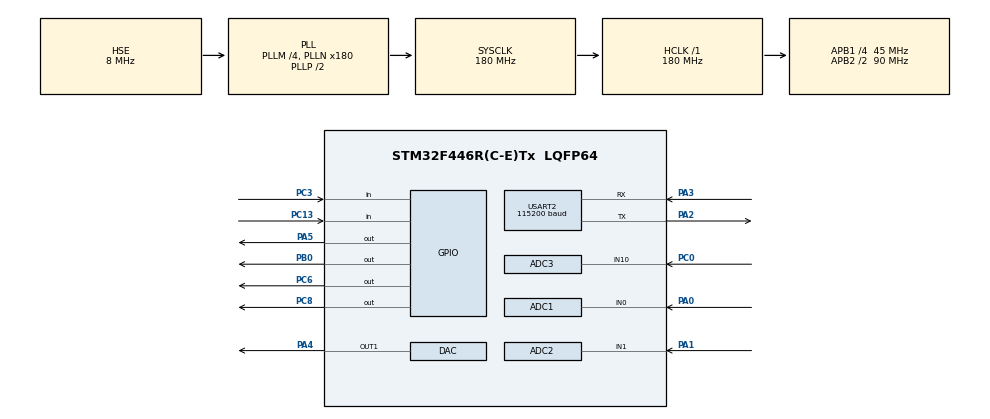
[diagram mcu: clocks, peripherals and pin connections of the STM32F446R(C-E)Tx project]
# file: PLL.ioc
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Mcu.Family=STM32F4
PH0-OSC_IN.Signal=RCC_OSC_IN
RCC.CortexFreq_Value=180000000
Dma.USART2_TX.0.PeriphDataAlignment=DMA_PDATAALIGN_BYTE
ADC1.ContinuousConvMode=DISABLE
ADC2.Channel-0\#ChannelRegularConversion=ADC_CHANNEL_1
USART2.Parity=PARITY_NONE
ADC3.Channel-0\#ChannelRegularConversion=ADC_CHANNEL_10
Dma.USART2_TX.0.FIFOMode=DMA_FIFOMODE_DISABLE
RCC.SYSCLKSource=RCC_SYSCLKSOURCE_PLLCLK
ProjectManager.StackSize=0x400
NVIC.ADC_IRQn=true\:0\:0\:false\:false\:true\:true\:true
Dma.USART2_TX.0.Priority=DMA_PRIORITY_LOW
TIM1.Prescaler=18-1
ADC2.DMAContinuousRequests=DISABLE
ADC1.Channel-3\#ChannelRegularConversion=ADC_CHANNEL_0
RCC.HCLKFreq_Value=180000000
RCC.APB2TimFreq_Value=180000000
VP_TIM10_VS_ClockSourceINT.Mode=Enable_Timer
PC3.Signal=GPIO_Input
RCC.AHBFreq_Value=180000000
PH0-OSC_IN.Mode=HSE-External-Oscillator
RCC.HSE_VALUE=8000000
TIM10.Channel=TIM_CHANNEL_1
DAC.DAC_Trigger=DAC_TRIGGER_NONE
DAC.DAC_OutputBuffer=DAC_OUTPUTBUFFER_ENABLE
SH.ADCx_IN0.0=ADC1_IN0,IN0
Dma.USART2_TX.0.MemDataAlignment=DMA_MDATAALIGN_BYTE
Dma.USART2_TX.0.Direction=DMA_MEMORY_TO_PERIPH
Dma.USART2_TX.0.Instance=DMA1_Stream6
VP_TIM1_VS_ClockSourceINT.Mode=Internal
PH1-OSC_OUT.Mode=HSE-External-Oscillator
Mcu.Package=LQFP64
USART2.VirtualMode=VM_ASYNC
ADC3.Rank-0\#ChannelRegularConversion=1
PC6.GPIO_PuPd=GPIO_NOPULL
ADC2.SamplingTime-0\#ChannelRegularConversion=ADC_SAMPLETIME_3CYCLES
Dma.USART2_TX.0.Mode=DMA_NORMAL
RCC.APB2CLKDivider=RCC_HCLK_DIV2
SH.ADCx_IN1.0=ADC2_IN1,IN1
RCC.APB1TimFreq_Value=90000000
TIM1.Period=65536-1
ADC2.Rank-0\#ChannelRegularConversion=1
NVIC.DMA1_Stream6_IRQn=true\:0\:0\:false\:false\:true\:false\:true
Dma.Request0=USART2_TX
PC6.GPIO_Speed=GPIO_SPEED_FREQ_LOW
PA3.Signal=USART2_RX
RCC.PLLSourceVirtual=RCC_PLLSOURCE_HSE
TIM10.Prescaler=180-1
SH.COMP_DAC1_group.0=DAC_OUT1,DAC_OUT1
Dma.USART2_TX.0.MemInc=DMA_MINC_ENABLE
PC13.Signal=GPIO_Input
PC8.Signal=GPIO_Output
PC6.Signal=GPIO_Output
PC0.Signal=ADCx_IN10
RCC.APB1CLKDivider=RCC_HCLK_DIV4
VP_TIM10_VS_no_output1.Mode=Output Compare1 No Output
NVIC.USART2_IRQn=true\:0\:0\:false\:false\:true\:true\:true
USART2.BaudRate=115200
PA0-WKUP.Signal=ADCx_IN0
PA3.Mode=Asynchronous
ADC3.SamplingTime-0\#ChannelRegularConversion=ADC_SAMPLETIME_3CYCLES
ProjectManager.TargetToolchain=STM32CubeIDE
RCC.USBFreq_Value=180000000
PA1.Signal=ADCx_IN1
PC6.PinState=GPIO_PIN_RESET
PA5.Signal=GPIO_Output
board=custom
RCC.VCOOutputFreq_Value=360000000
TIM10.Period=100-1
RCC.APB2Freq_Value=90000000
PH1-OSC_OUT.Signal=RCC_OSC_OUT
ADC1.DMAContinuousRequests=DISABLE
ADC1.NbrOfConversion=1
Mcu.Name=STM32F446R(C-E)Tx
PA2.Signal=USART2_TX
ADC1.ExternalTrigConv=ADC_SOFTWARE_START
PA4.Signal=COMP_DAC1_group
RCC.SYSCLKFreq_VALUE=180000000
ADC1.master=1
Dma.USART2_TX.0.PeriphInc=DMA_PINC_DISABLE
ADC1.Rank-3\#ChannelRegularConversion=1
ADC1.SamplingTime-3\#ChannelRegularConversion=ADC_SAMPLETIME_3CYCLES
ADC2.NbrOfConversionFlag=1
SH.ADCx_IN10.0=ADC3_IN10,IN10
ProjectManager.HeapSize=0x200
NVIC.TIM1_UP_TIM10_IRQn=true\:0\:0\:false\:false\:true\:true\:true
NVIC.PriorityGroup=NVIC_PRIORITYGROUP_4
ADC1.NbrOfConversionFlag=1
RCC.PLLM=4
RCC.PLLN=180
PA2.Mode=Asynchronous
ADC1.DataAlign=ADC_DATAALIGN_RIGHT
RCC.APB1Freq_Value=45000000
ADC3.NbrOfConversionFlag=1
PB0.Signal=GPIO_Output
ADC1.ClockPrescaler=ADC_CLOCK_SYNC_PCLK_DIV4
PC3.GPIO_PuPd=GPIO_PULLDOWN

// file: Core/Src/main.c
/* USER CODE BEGIN Header */
/**
  ******************************************************************************
  * @file           : main.c
  * @brief          : Main program body
  ******************************************************************************
  * @attention
  *
  * <h2><center>&copy; Copyright (c) 2021 STMicroelectronics.
  * All rights reserved.</center></h2>
  *
  * This software component is licensed by ST under BSD 3-Clause license,
  * the "License"; You may not use this file except in compliance with the
  * License. You may obtain a copy of the License at:
  *                        opensource.org/licenses/BSD-3-Clause
  *
  ******************************************************************************
  */
/* USER CODE END Header */
#include "main.h"

/* USER CODE BEGIN Includes */
#include <stdio.h>
#include <string.h>
#include <math.h>

#include "MAF.h"
#include "PLL.h"
#include "our_library.h"

#include "CONSTANTS.h"
/* USER CODE END Includes */

ADC_HandleTypeDef hadc1;
ADC_HandleTypeDef hadc2;
ADC_HandleTypeDef hadc3;

DAC_HandleTypeDef hdac;

TIM_HandleTypeDef htim1;
TIM_HandleTypeDef htim10;

UART_HandleTypeDef huart2;
DMA_HandleTypeDef hdma_usart2_tx;

/* USER CODE BEGIN PV */

// ADC & DAC DMA buffer
uint16_t readStart;

// Ring/Circular buffer
int16_t ringBuf[RING_BUF_LEN][RING_BUF_SIZE];	// The actual full ringbuffer
int16_t ringBufData[RING_BUF_SIZE];				// Data array for data to input into ringbuffer.
												// Holds one value per signal for each interrupt

uint8_t	ringBufTrigger2 = 0;	// Triggers the ring buffer from the gpio input
uint8_t ringBufFlag	= 0;		// Goes high when the ring buffer is done filling the buffer after trigger
uint8_t ringBufPrintDone = 0;	// Goes high when printing of ring buffer is done, so usart isn't called again
uint8_t ringBufReset = 0;

uint16_t adcValue1, adcValue2, adcValue3;

float phaseA, phaseB, phaseC, angleDq;

// File opening pointer
//FILE *fpt;

/* USER CODE END PV */

void SystemClock_Config(void);
static void MX_GPIO_Init(void);
static void MX_DMA_Init(void);
static void MX_USART2_UART_Init(void);
static void MX_ADC1_Init(void);
static void MX_TIM10_Init(void);
static void MX_DAC_Init(void);
static void MX_ADC2_Init(void);
static void MX_ADC3_Init(void);
static void MX_TIM1_Init(void);
/* USER CODE BEGIN PFP */

// USART DMA implementation: Interrupt definition
//void DMATransferComplete(DMA_HandleTypeDef *hdma);

uint8_t print_ring_buf(uint16_t bufferSize, int16_t circularBuffer[][RING_BUF_SIZE], uint16_t readStart);
uint8_t print_ring_buf_v2(uint16_t bufferSize, int16_t circularBuffer[][RING_BUF_SIZE], uint16_t readStart);
/* USER CODE END PFP */

int main(void)
{
  /* USER CODE BEGIN 1 */

  //	huart2.Instance->CR3 |= USART_CR3_DMAT;
  //	adcReading0 = adcBuf[0];
  //	sprintf(msg_2, "Adc reading: %u\r\n", adcReading0);	// Update message for usart print
  //	HAL_DMA_Start_IT(&hdma_usart2_tx, (uint32_t)msg_2,
  //						(uint32_t)&huart2.Instance

  /* USER CODE END 1 */

  /* MCU Configuration--------------------------------------------------------*/

  /* Reset of all peripherals, Initializes the Flash interface and the Systick. */
  HAL_Init();

  /* Configure the system clock */
  SystemClock_Config();

  /* Initialize all configured peripherals */
  MX_GPIO_Init();
  MX_DMA_Init();
  MX_USART2_UART_Init();
  MX_ADC1_Init();
  MX_TIM10_Init();
  MX_DAC_Init();
  MX_ADC2_Init();
  MX_ADC3_Init();
  MX_TIM1_Init();
  /* USER CODE BEGIN 2 */

  // ADC DMA implementation//  HAL_ADC_Start_DMA(&hadc1, (int32_t*)adcValue16, sizeof(adcValue16)); // Start DMA
//  HAL_ADC_Start_DMA(&hadc1, (uint32_t*)adcBuf, sizeof(adcBuf)/sizeof(uint16_t)); // Start DMA//  HAL_ADC_Start_DMA(&hadc1, (uint32_t*)adcValue32, 1); // Start DMA (currently unused

  // USART DMA interrupt
//  HAL_DMA_RegisterCallback(&hdma_usart2_tx, HAL_DMA_XFER_CPLT_CB_ID, &DMATransferComplete);

  // DAC DMA
//  HAL_DAC_Start_DMA(&hdac, DAC1_CHANNEL_1, (uint32_t*)&adcBuf[0], sizeof(adcReading0), DAC_ALIGN_12B_R);//  HAL_DAC_Start_DMA(&hdac, DAC1_CHANNEL_1, (uint32_t*)testArray, sizeof(testArray)/sizeof(uint16_t), DAC_ALIGN_12B_R);

  // Timer interrupt start
  HAL_TIM_Base_Start_IT(&htim10);
  HAL_TIM_Base_Start(&htim1);

  /* USER CODE END 2 */

  /* Infinite loop */
  /* USER CODE BEGIN WHILE */
  while (1)
  {

	// External trigger in (from waveforms)
	if (HAL_GPIO_ReadPin(GPIOC, GPIO_PIN_3)){
		ringBufTrigger2 = 1;
	}

	// Reset from button
	if (!HAL_GPIO_ReadPin(GPIOC, GPIO_PIN_13)) {
		ringBufFlag = 0;
		ringBufTrigger2 = 0;
		ringBufPrintDone = 0;

		ringBufReset = 1;
	}
	else {
		ringBufReset = 0;
	}

	if (ringBufFlag && !ringBufPrintDone) {
		ringBufPrintDone = print_ring_buf_v2(RING_BUF_LEN, ringBuf, readStart);
	}
    /* USER CODE END WHILE */

  }
}

void SystemClock_Config(void)
{
  RCC_OscInitTypeDef RCC_OscInitStruct = {0};
  RCC_ClkInitTypeDef RCC_ClkInitStruct = {0};

  /** Configure the main internal regulator output voltage
  */
  __HAL_RCC_PWR_CLK_ENABLE();
  __HAL_PWR_VOLTAGESCALING_CONFIG(PWR_REGULATOR_VOLTAGE_SCALE1);
  /** Initializes the RCC Oscillators according to the specified parameters
  * in the RCC_OscInitTypeDef structure.
  */
  RCC_OscInitStruct.OscillatorType = RCC_OSCILLATORTYPE_HSE;
  RCC_OscInitStruct.HSEState = RCC_HSE_ON;
  RCC_OscInitStruct.PLL.PLLState = RCC_PLL_ON;
  RCC_OscInitStruct.PLL.PLLSource = RCC_PLLSOURCE_HSE;
  RCC_OscInitStruct.PLL.PLLM = 4;
  RCC_OscInitStruct.PLL.PLLN = 180;
  RCC_OscInitStruct.PLL.PLLP = RCC_PLLP_DIV2;
  RCC_OscInitStruct.PLL.PLLQ = 2;
  RCC_OscInitStruct.PLL.PLLR = 2;
  if (HAL_RCC_OscConfig(&RCC_OscInitStruct) != HAL_OK)
  {
    Error_Handler();
  }
  /** Activate the Over-Drive mode
  */
  if (HAL_PWREx_EnableOverDrive() != HAL_OK)
  {
    Error_Handler();
  }
  /** Initializes the CPU, AHB and APB buses clocks
  */
  RCC_ClkInitStruct.ClockType = RCC_CLOCKTYPE_HCLK|RCC_CLOCKTYPE_SYSCLK
                              |RCC_CLOCKTYPE_PCLK1|RCC_CLOCKTYPE_PCLK2;
  RCC_ClkInitStruct.SYSCLKSource = RCC_SYSCLKSOURCE_PLLCLK;
  RCC_ClkInitStruct.AHBCLKDivider = RCC_SYSCLK_DIV1;
  RCC_ClkInitStruct.APB1CLKDivider = RCC_HCLK_DIV4;
  RCC_ClkInitStruct.APB2CLKDivider = RCC_HCLK_DIV2;

  if (HAL_RCC_ClockConfig(&RCC_ClkInitStruct, FLASH_LATENCY_5) != HAL_OK)
  {
    Error_Handler();
  }
}

static void MX_ADC1_Init(void)
{

  ADC_ChannelConfTypeDef sConfig = {0};

  /** Configure the global features of the ADC (Clock, Resolution, Data Alignment and number of conversion)
  */
  hadc1.Instance = ADC1;
  hadc1.Init.ClockPrescaler = ADC_CLOCK_SYNC_PCLK_DIV4;
  hadc1.Init.Resolution = ADC_RESOLUTION_12B;
  hadc1.Init.ScanConvMode = DISABLE;
  hadc1.Init.ContinuousConvMode = DISABLE;
  hadc1.Init.DiscontinuousConvMode = DISABLE;
  hadc1.Init.ExternalTrigConvEdge = ADC_EXTERNALTRIGCONVEDGE_NONE;
  hadc1.Init.ExternalTrigConv = ADC_SOFTWARE_START;
  hadc1.Init.DataAlign = ADC_DATAALIGN_RIGHT;
  hadc1.Init.NbrOfConversion = 1;
  hadc1.Init.DMAContinuousRequests = DISABLE;
  hadc1.Init.EOCSelection = ADC_EOC_SINGLE_CONV;
  if (HAL_ADC_Init(&hadc1) != HAL_OK)
  {
    Error_Handler();
  }
  /** Configure for the selected ADC regular channel its corresponding rank in the sequencer and its sample time.
  */
  sConfig.Channel = ADC_CHANNEL_0;
  sConfig.Rank = 1;
  sConfig.SamplingTime = ADC_SAMPLETIME_3CYCLES;
  if (HAL_ADC_ConfigChannel(&hadc1, &sConfig) != HAL_OK)
  {
    Error_Handler();
  }

}

static void MX_ADC2_Init(void)
{

  ADC_ChannelConfTypeDef sConfig = {0};

  /** Configure the global features of the ADC (Clock, Resolution, Data Alignment and number of conversion)
  */
  hadc2.Instance = ADC2;
  hadc2.Init.ClockPrescaler = ADC_CLOCK_SYNC_PCLK_DIV4;
  hadc2.Init.Resolution = ADC_RESOLUTION_12B;
  hadc2.Init.ScanConvMode = DISABLE;
  hadc2.Init.ContinuousConvMode = DISABLE;
  hadc2.Init.DiscontinuousConvMode = DISABLE;
  hadc2.Init.ExternalTrigConvEdge = ADC_EXTERNALTRIGCONVEDGE_NONE;
  hadc2.Init.ExternalTrigConv = ADC_SOFTWARE_START;
  hadc2.Init.DataAlign = ADC_DATAALIGN_RIGHT;
  hadc2.Init.NbrOfConversion = 1;
  hadc2.Init.DMAContinuousRequests = DISABLE;
  hadc2.Init.EOCSelection = ADC_EOC_SINGLE_CONV;
  if (HAL_ADC_Init(&hadc2) != HAL_OK)
  {
    Error_Handler();
  }
  /** Configure for the selected ADC regular channel its corresponding rank in the sequencer and its sample time.
  */
  sConfig.Channel = ADC_CHANNEL_1;
  sConfig.Rank = 1;
  sConfig.SamplingTime = ADC_SAMPLETIME_3CYCLES;
  if (HAL_ADC_ConfigChannel(&hadc2, &sConfig) != HAL_OK)
  {
    Error_Handler();
  }

}

static void MX_ADC3_Init(void)
{

  ADC_ChannelConfTypeDef sConfig = {0};

  /** Configure the global features of the ADC (Clock, Resolution, Data Alignment and number of conversion)
  */
  hadc3.Instance = ADC3;
  hadc3.Init.ClockPrescaler = ADC_CLOCK_SYNC_PCLK_DIV4;
  hadc3.Init.Resolution = ADC_RESOLUTION_12B;
  hadc3.Init.ScanConvMode = DISABLE;
  hadc3.Init.ContinuousConvMode = DISABLE;
  hadc3.Init.DiscontinuousConvMode = DISABLE;
  hadc3.Init.ExternalTrigConvEdge = ADC_EXTERNALTRIGCONVEDGE_NONE;
  hadc3.Init.ExternalTrigConv = ADC_SOFTWARE_START;
  hadc3.Init.DataAlign = ADC_DATAALIGN_RIGHT;
  hadc3.Init.NbrOfConversion = 1;
  hadc3.Init.DMAContinuousRequests = DISABLE;
  hadc3.Init.EOCSelection = ADC_EOC_SINGLE_CONV;
  if (HAL_ADC_Init(&hadc3) != HAL_OK)
  {
    Error_Handler();
  }
  /** Configure for the selected ADC regular channel its corresponding rank in the sequencer and its sample time.
  */
  sConfig.Channel = ADC_CHANNEL_10;
  sConfig.Rank = 1;
  sConfig.SamplingTime = ADC_SAMPLETIME_3CYCLES;
  if (HAL_ADC_ConfigChannel(&hadc3, &sConfig) != HAL_OK)
  {
    Error_Handler();
  }

}

static void MX_DAC_Init(void)
{

  DAC_ChannelConfTypeDef sConfig = {0};

  /** DAC Initialization
  */
  hdac.Instance = DAC;
  if (HAL_DAC_Init(&hdac) != HAL_OK)
  {
    Error_Handler();
  }
  /** DAC channel OUT1 config
  */
  sConfig.DAC_Trigger = DAC_TRIGGER_NONE;
  sConfig.DAC_OutputBuffer = DAC_OUTPUTBUFFER_ENABLE;
  if (HAL_DAC_ConfigChannel(&hdac, &sConfig, DAC_CHANNEL_1) != HAL_OK)
  {
    Error_Handler();
  }

}

static void MX_TIM1_Init(void)
{

  TIM_ClockConfigTypeDef sClockSourceConfig = {0};
  TIM_MasterConfigTypeDef sMasterConfig = {0};

  htim1.Instance = TIM1;
  htim1.Init.Prescaler = 18-1;
  htim1.Init.CounterMode = TIM_COUNTERMODE_UP;
  htim1.Init.Period = 65536-1;
  htim1.Init.ClockDivision = TIM_CLOCKDIVISION_DIV1;
  htim1.Init.RepetitionCounter = 0;
  htim1.Init.AutoReloadPreload = TIM_AUTORELOAD_PRELOAD_DISABLE;
  if (HAL_TIM_Base_Init(&htim1) != HAL_OK)
  {
    Error_Handler();
  }
  sClockSourceConfig.ClockSource = TIM_CLOCKSOURCE_INTERNAL;
  if (HAL_TIM_ConfigClockSource(&htim1, &sClockSourceConfig) != HAL_OK)
  {
    Error_Handler();
  }
  sMasterConfig.MasterOutputTrigger = TIM_TRGO_RESET;
  sMasterConfig.MasterSlaveMode = TIM_MASTERSLAVEMODE_DISABLE;
  if (HAL_TIMEx_MasterConfigSynchronization(&htim1, &sMasterConfig) != HAL_OK)
  {
    Error_Handler();
  }

}

static void MX_TIM10_Init(void)
{

  TIM_OC_InitTypeDef sConfigOC = {0};

  htim10.Instance = TIM10;
  htim10.Init.Prescaler = 180-1;
  htim10.Init.CounterMode = TIM_COUNTERMODE_UP;
  htim10.Init.Period = 100-1;
  htim10.Init.ClockDivision = TIM_CLOCKDIVISION_DIV1;
  htim10.Init.AutoReloadPreload = TIM_AUTORELOAD_PRELOAD_DISABLE;
  if (HAL_TIM_Base_Init(&htim10) != HAL_OK)
  {
    Error_Handler();
  }
  if (HAL_TIM_OC_Init(&htim10) != HAL_OK)
  {
    Error_Handler();
  }
  sConfigOC.OCMode = TIM_OCMODE_TIMING;
  sConfigOC.Pulse = 0;
  sConfigOC.OCPolarity = TIM_OCPOLARITY_HIGH;
  sConfigOC.OCFastMode = TIM_OCFAST_DISABLE;
  if (HAL_TIM_OC_ConfigChannel(&htim10, &sConfigOC, TIM_CHANNEL_1) != HAL_OK)
  {
    Error_Handler();
  }

}

static void MX_USART2_UART_Init(void)
{

  huart2.Instance = USART2;
  huart2.Init.BaudRate = 115200;
  huart2.Init.WordLength = UART_WORDLENGTH_8B;
  huart2.Init.StopBits = UART_STOPBITS_1;
  huart2.Init.Parity = UART_PARITY_NONE;
  huart2.Init.Mode = UART_MODE_TX_RX;
  huart2.Init.HwFlowCtl = UART_HWCONTROL_NONE;
  huart2.Init.OverSampling = UART_OVERSAMPLING_16;
  if (HAL_UART_Init(&huart2) != HAL_OK)
  {
    Error_Handler();
  }

}

static void MX_DMA_Init(void)
{

  /* DMA controller clock enable */
  __HAL_RCC_DMA1_CLK_ENABLE();

  /* DMA interrupt init */
  /* DMA1_Stream6_IRQn interrupt configuration */
  HAL_NVIC_SetPriority(DMA1_Stream6_IRQn, 0, 0);
  HAL_NVIC_EnableIRQ(DMA1_Stream6_IRQn);

}

static void MX_GPIO_Init(void)
{
  GPIO_InitTypeDef GPIO_InitStruct = {0};

  /* GPIO Ports Clock Enable */
  __HAL_RCC_GPIOC_CLK_ENABLE();
  __HAL_RCC_GPIOH_CLK_ENABLE();
  __HAL_RCC_GPIOA_CLK_ENABLE();
  __HAL_RCC_GPIOB_CLK_ENABLE();

  /*Configure GPIO pin Output Level */
  HAL_GPIO_WritePin(GPIOA, GPIO_PIN_5, GPIO_PIN_RESET);

  /*Configure GPIO pin Output Level */
  HAL_GPIO_WritePin(GPIOB, GPIO_PIN_0, GPIO_PIN_RESET);

  /*Configure GPIO pin Output Level */
  HAL_GPIO_WritePin(GPIOC, GPIO_PIN_6|GPIO_PIN_8, GPIO_PIN_RESET);

  /*Configure GPIO pin : PC13 */
  GPIO_InitStruct.Pin = GPIO_PIN_13;
  GPIO_InitStruct.Mode = GPIO_MODE_INPUT;
  GPIO_InitStruct.Pull = GPIO_NOPULL;
  HAL_GPIO_Init(GPIOC, &GPIO_InitStruct);

  /*Configure GPIO pin : PC3 */
  GPIO_InitStruct.Pin = GPIO_PIN_3;
  GPIO_InitStruct.Mode = GPIO_MODE_INPUT;
  GPIO_InitStruct.Pull = GPIO_PULLDOWN;
  HAL_GPIO_Init(GPIOC, &GPIO_InitStruct);

  /*Configure GPIO pin : PA5 */
  GPIO_InitStruct.Pin = GPIO_PIN_5;
  GPIO_InitStruct.Mode = GPIO_MODE_OUTPUT_PP;
  GPIO_InitStruct.Pull = GPIO_NOPULL;
  GPIO_InitStruct.Speed = GPIO_SPEED_FREQ_LOW;
  HAL_GPIO_Init(GPIOA, &GPIO_InitStruct);

  /*Configure GPIO pin : PB0 */
  GPIO_InitStruct.Pin = GPIO_PIN_0;
  GPIO_InitStruct.Mode = GPIO_MODE_OUTPUT_PP;
  GPIO_InitStruct.Pull = GPIO_NOPULL;
  GPIO_InitStruct.Speed = GPIO_SPEED_FREQ_LOW;
  HAL_GPIO_Init(GPIOB, &GPIO_InitStruct);

  /*Configure GPIO pins : PC6 PC8 */
  GPIO_InitStruct.Pin = GPIO_PIN_6|GPIO_PIN_8;
  GPIO_InitStruct.Mode = GPIO_MODE_OUTPUT_PP;
  GPIO_InitStruct.Pull = GPIO_NOPULL;
  GPIO_InitStruct.Speed = GPIO_SPEED_FREQ_LOW;
  HAL_GPIO_Init(GPIOC, &GPIO_InitStruct);

}

/* USER CODE BEGIN 4 */

// USART DMA interrupt: Transfer of string to USART complete
//void DMATransferComplete(DMA_HandleTypeDef *hdma)
//{
//  huart2.Instance->CR3 &= ~USART_CR3_DMAT;
//  HAL_GPIO_TogglePin(GPIOA, GPIO_PIN_5);
//}

// ADC DMA interrupt: Half of buffer is full
//void HAL_ADC_ConvHalfCpltCallback(ADC_HandleTypeDef* hadc)
//{
//  HAL_GPIO_WritePin(GPIOB, GPIO_PIN_0, GPIO_PIN_SET);
//}

// ADC DMA interrupt: The whole buffer is full
//void HAL_ADC_ConvCpltCallback(ADC_HandleTypeDef* hadc)
//{
//	HAL_GPIO_WritePin(GPIOB, GPIO_PIN_0, GPIO_PIN_RESET);
//}

//void HAL_DAC_ConvCpltCallbackCh1(DAC_HandleTypeDef hdac)
//{
//	HAL_GPIO_TogglePin(GPIOC, GPIO_PIN_8);
//}

// Timer 10 (TIM10) interrupt:
void HAL_TIM_PeriodElapsedCallback(TIM_HandleTypeDef *htim)
{
  if (htim == &htim10)
  {
    // DAC variables
    static uint16_t dac_out;		// Dac output variable
    static float varDacScaled;		// Temporary float for dac output
    static float varDac = 0.1;		// Temporary dac voltage value
    static float varDacComp;		// Compensated for DAC offset

    // PLL variables
    static float alpha1, beta1, Vq, Vd, VqMaf, VdMaf, alpha2, beta2, cosGrid, sinGrid;
    static float phaseError, anglePllComp, anglePll;

	// Set pin: For execution timing
    HAL_GPIO_WritePin(GPIOC, GPIO_PIN_6, GPIO_PIN_SET);

    // ADCs

    // ADC 1
    HAL_ADC_Start(&hadc1);
    HAL_ADC_PollForConversion(&hadc1, HAL_MAX_DELAY);
    adcValue1 = HAL_ADC_GetValue(&hadc1);

    // ADC 2
    HAL_ADC_Start(&hadc2);
    HAL_ADC_PollForConversion(&hadc2, HAL_MAX_DELAY);
    adcValue2 = HAL_ADC_GetValue(&hadc2);

	// ADC 3
    HAL_ADC_Start(&hadc3);
    HAL_ADC_PollForConversion(&hadc3, HAL_MAX_DELAY);
    adcValue3 = HAL_ADC_GetValue(&hadc3);

    // Scaling of ADC input signals
    phaseA = (float)adcValue1/(0xFFF+1)*3.3f - 1.65f;
    phaseB = (float)adcValue2/(0xFFF+1)*3.3f - 1.65f;
    phaseC = (float)adcValue3/(0xFFF+1)*3.3f - 1.65f;

    // PLL Start
    //--------------------------------------------------------------------------------------------

    // Generate Angle for DQ-transformation - Rotates at nominal frequency (50  Hz)
    angleDq = angleDq + T_SAMPLE*F_RAD;
    if (angleDq > TWO_PI)
    {
    	angleDq = angleDq - TWO_PI;
    }

    	// Create simulated three phase (based on dq-angle)
    //  phaseA = sinf(angleDq);
    //	phaseB = sinf(angleDq-RAD_120);
    //	phaseC = sinf(angleDq+RAD_120);

	// Transformation: abc -> alpha beta
    // Outputs: alpha1 & beta1
    abc_to_alphabeta(phaseA, phaseB, phaseC, &alpha1, &beta1);

    // Transformation: alpha beta -> DQ
    // Outputs: Vd & Vq
    alphabeta_to_dq(alpha1, beta1, angleDq, &Vd, &Vq);

    // MAF
    // Outputs: VdMaf & VqMaf
	maf(&Vd, &Vq, &VdMaf, &VqMaf);

	// Transformation: DQ -> alpha beta
	// Outputs: alpha2 & beta2
    dq_to_alphabeta(VdMaf, VqMaf, angleDq, &alpha2, &beta2);

	// normalization: sinGrid & cosGrid
    // Outputs: cosGrid & sinGrid
    cos_sin_grid(alpha2, beta2, &cosGrid, &sinGrid);

    // Phase detector
    phaseError = phase_detector(cosGrid, sinGrid, anglePllComp);

    // PI-regulator
    // Outputs: anglePll & anglePllComp
    pi_regulator(phaseError, F_RAD, KI, KP, KPHI, T_SAMPLE, &anglePll, &anglePllComp);

    //--------------------------------------------------------------------------------------------
    // PLL End

    // DAC
    // DAC offset compensation loop
//    varDac = varDac + 0.1f;
//    if (varDac > 3.2f) {
//    	varDac = 0.1;
//    }

    varDac  =  (anglePll*0.47f + 0.1f);					// scaling and offset to utilization of DAC output spectrum
    													// while staying >100 mV and <3200 mV
    varDacComp = dac_offset(varDac, -0.0084f, 0.0054f);	// Inverse DAC offset
    varDacScaled = varDacComp * DAC_SCALING;			// Scaled from voltage to digital value
    dac_out = (uint16_t)varDacScaled; 					// Convert from float to uint16_t

    HAL_DAC_Start(&hdac, DAC_CHANNEL_1); 	// Start the DAC
    HAL_DAC_SetValue(&hdac, DAC_CHANNEL_1, DAC_ALIGN_12B_R, dac_out); // Set dac to value

    // Ring buffer
    /*
    ringBufData[0] 	= ((float)	phaseA 			* (float)RING_BUF_SCALING);
    ringBufData[1] 	= ((float)	phaseB			* (float)RING_BUF_SCALING);
    ringBufData[2] 	= ((float)	phaseC 			* (float)RING_BUF_SCALING);
    ringBufData[3] 	= ((float)	VdMaf 			* (float)RING_BUF_SCALING);
    ringBufData[4] 	= ((float)	VqMaf 			* (float)RING_BUF_SCALING);
    ringBufData[5] = ((float)	cosGrid			* (float)RING_BUF_SCALING);
    ringBufData[6] = ((float)	sinGrid 		* (float)RING_BUF_SCALING);
    ringBufData[7] = ((float)	phaseError 		* (float)RING_BUF_SCALING);
    ringBufData[8] = ((float)	anglePll 		* (float)RING_BUF_SCALING);
    ringBufData[9] = ((float)	angleDq			* (float)RING_BUF_SCALING);
	*/

    // Ring buffer with all subcomponents
//    ringBufData[0] 	= ((float)	phaseA 			* (float)RING_BUF_SCALING);
//    ringBufData[1] 	= ((float)	phaseB			* (float)RING_BUF_SCALING);
//    ringBufData[2]  = ((float)	phaseC 			* (float)RING_BUF_SCALING);
//    ringBufData[3] 	= ((float)	alpha1 			* (float)RING_BUF_SCALING);
//    ringBufData[4] 	= ((float)	beta1 			* (float)RING_BUF_SCALING);
//    ringBufData[5] 	= ((float)	Vd 				* (float)RING_BUF_SCALING);
//    ringBufData[6] 	= ((float)	Vq				* (float)RING_BUF_SCALING);
//    ringBufData[7] 	= ((float)	VdMaf 			* (float)RING_BUF_SCALING);
//    ringBufData[8] 	= ((float)	VqMaf 			* (float)RING_BUF_SCALING);
//    ringBufData[9] 	= ((float)	alpha2 			* (float)RING_BUF_SCALING);
//    ringBufData[10] = ((float)	beta2			* (float)RING_BUF_SCALING);
//    ringBufData[11] = ((float)	cosGrid			* (float)RING_BUF_SCALING);
//    ringBufData[12] = ((float)	sinGrid 		* (float)RING_BUF_SCALING);
//    ringBufData[13] = ((float)	phaseError 		* (float)RING_BUF_SCALING);
//    ringBufData[14] = ((float)	anglePll 		* (float)RING_BUF_SCALING);
//    ringBufData[15] = ((float)	anglePllComp	* (float)RING_BUF_SCALING);
//    ringBufData[16] = ((float)	angleDq			* (float)RING_BUF_SCALING);

/*    // Ring buffer for mini acceptance test @ 2kHz:
    ringBufData[0] 	= ((float)	phaseA 			* (float)RING_BUF_SCALING);
    ringBufData[1] 	= ((float)	phaseB			* (float)RING_BUF_SCALING);
    ringBufData[2]  = ((float)	phaseC 			* (float)RING_BUF_SCALING);
    ringBufData[3] 	= ((float)	Vd 				* (float)RING_BUF_SCALING);
    ringBufData[4] 	= ((float)	Vq				* (float)RING_BUF_SCALING);
    ringBufData[5] 	= ((float)	VdMaf 			* (float)RING_BUF_SCALING);
    ringBufData[6] 	= ((float)	VqMaf 			* (float)RING_BUF_SCALING);
    ringBufData[7]  = ((float)	anglePll 		* (float)RING_BUF_SCALING);
*/

    // Ring buffer for mini acceptance test @ 10 kHz:
    ringBufData[0]  = ((float)	anglePll 		* (float)RING_BUF_SCALING);

    ringBufFlag = circular_buffer(RING_BUF_LEN, ringBuf, ringBufData, ringBufTrigger2, ringBufReset, RING_BUF_SPLIT, &readStart);

	// Reset pin: Stop timer
	HAL_GPIO_WritePin(GPIOC, GPIO_PIN_6, GPIO_PIN_RESET);
  }
}

/*
//  Function    :   print_ring_buf
//  Description :   prints the ring buffer values
//  Parameters  :   uint16_t bufferSize: pointer to an int to store the number
//                  uint16_t circularBuffer: Pointer to circular buffer array
//                  uint16_t readStart: starting index of the circular buffer
//  Returns     :	none
uint8_t print_ring_buf(uint16_t bufferSize, int16_t circularBuffer[][RING_BUF_SIZE], uint16_t readStart) {
    static uint16_t readIndex   =   0;
    static uint8_t init         =   0;

    static char msg[250];	// Initialize string to be written to USART

    // Initialize readIndex to readStart
    if (!init) {
        readIndex = readStart;
        init = 1;
    }

//	sprintf(msg, "phaseA, phaseB, phaseC, alpha1, beta1, Vd, Vq, VdMaf, VqMaf, alpha2, beta2, cosGrid, sinGrid, phaseError, anglePll, anglePllComp, angleDq, t_adc, t_3p_sin, t_abc_ab, t_ab_dq, t_maf, t_dq_ab, t_sin_cos, t_phase_d, t_pi_regulator \r\n");
	HAL_UART_Transmit(&huart2, (uint8_t*)msg, strlen(msg), HAL_MAX_DELAY);

    for (int i = 0; i < bufferSize; i++)
    {
        //printf("Buffervalue at index [%d] = %d\n", readIndex, circularBuffer[readIndex]);

//    	sprintf(msg, "%d, %d, %d, %d\r\n", circularBuffer[readIndex][0], circularBuffer[readIndex][1],
//									circularBuffer[readIndex][2], circularBuffer[readIndex][3]);	// Update message for usart print
    	sprintf(msg, "%d, %d, %d, %d, %d, %d, %d, %d, %d, %d, %d, %d, %d, %d, %d, %d, %d, %d, %d, %d, %d, %d, %d, %d, %d, %d\r\n",
											circularBuffer[readIndex][0], 	circularBuffer[readIndex][1],
											circularBuffer[readIndex][2], 	circularBuffer[readIndex][3],
											circularBuffer[readIndex][4], 	circularBuffer[readIndex][5],
											circularBuffer[readIndex][6], 	circularBuffer[readIndex][7],
											circularBuffer[readIndex][8], 	circularBuffer[readIndex][9],
											circularBuffer[readIndex][10], 	circularBuffer[readIndex][11],
											circularBuffer[readIndex][12], 	circularBuffer[readIndex][13],
											circularBuffer[readIndex][14], 	circularBuffer[readIndex][15],
											circularBuffer[readIndex][16], circularBuffer[readIndex][17],
											circularBuffer[readIndex][18], circularBuffer[readIndex][19],
											circularBuffer[readIndex][20], circularBuffer[readIndex][21],
											circularBuffer[readIndex][22], circularBuffer[readIndex][23],
											circularBuffer[readIndex][24], circularBuffer[readIndex][25]);	// Update message for usart print

    	// sprintf(msg, "[%d] = %d\r\n", readIndex, circularBuffer[readIndex]);	// Update message for usart print

    	HAL_UART_Transmit(&huart2, (uint8_t*)msg, strlen(msg), HAL_MAX_DELAY);

        readIndex++;
        if (readIndex > bufferSize) {
            readIndex = 0;
        }
    }
    return 1;

}
*/

//  Function    :   print_ring_buf_v2
//  Description :   prints the ring buffer values - Optimized version
//  Parameters  :   uint16_t bufferSize: The amount of sampling points that the circularBuffer can contain
//                  uint16_t circularBuffer: Pointer to circular buffer array
//                  uint16_t readStart: starting index of the circular buffer
//  Returns     :	none
uint8_t print_ring_buf_v2(uint16_t bufferSize, int16_t circularBuffer[][RING_BUF_SIZE], uint16_t readStart) {
    static uint16_t readIndex   =   0;
    static uint8_t init         =   0;
    static uint16_t pos			=	0;		// Track position of array

    static char msg[250];	// Initialize string to be written to USART

    // Initialize readIndex to readStart
    if (!init) {
        readIndex = readStart;
        init = 1;
    }

//	  sprintf(msg, "phaseA, phaseB, phaseC, alpha1, beta1, Vd, Vq, VdMaf, VqMaf, alpha2, beta2, cosGrid, sinGrid, phaseError, anglePll, anglePllComp, angleDq, t_adc, t_3p_sin, t_abc_ab, t_ab_dq, t_maf, t_dq_ab, t_sin_cos, t_phase_d, t_pi_regulator \r\n");
//    sprintf(msg, "phaseA, phaseB, phaseC, alpha1, beta1, Vd, Vq, VdMaf, VqMaf, alpha2, beta2, cosGrid, sinGrid, phaseError, anglePll, anglePllComp, angleDq\r\n");
//    sprintf(msg, "phaseA, phaseB, phaseC, Vd, Vq, VdMaf, VqMaf, anglePll\r\n");
//    sprintf(msg, "phaseA, phaseB, phaseC, VdMaf, VqMaf, cosGrid, sinGrid, phaseError, anglePll, angleDq\r\n");
    sprintf(msg, "anglePll\r\n");

    // Print names of signals
	HAL_UART_Transmit(&huart2, (uint8_t*)msg, strlen(msg), HAL_MAX_DELAY);

	// Outer loop: Iterate over samples
    for (int i = 0; i < bufferSize; i++)
    {
        // Inner loop: Iterate over variables (phaseA, phaseB etc.
    	for (int n = 0; n < (RING_BUF_SIZE); n++) {

    		if (n < RING_BUF_SIZE-1) {
    			pos += sprintf(&msg[pos], "%d, ", circularBuffer[readIndex][n]);
    		}
    		else {
    			// Last variable: Don't put comma and place a 'next line'
    			pos += sprintf(&msg[pos], "%d\r\n", circularBuffer[readIndex][n]);
    		}
    	}

    	// Print message on UART via huart2
    	HAL_UART_Transmit(&huart2, (uint8_t*)msg, strlen(msg), HAL_MAX_DELAY);

    	pos = 0;	// Reset pos
        readIndex++;
        if (readIndex > (bufferSize-1)) {
            readIndex = 0;
        }
    }

    // Return 1 when finished
    return 1;
}

/* USER CODE END 4 */

void Error_Handler(void)
{
  __disable_irq();
  while (1)
  {
  }
}

/************************ (C) COPYRIGHT STMicroelectronics *****END OF FILE****/
